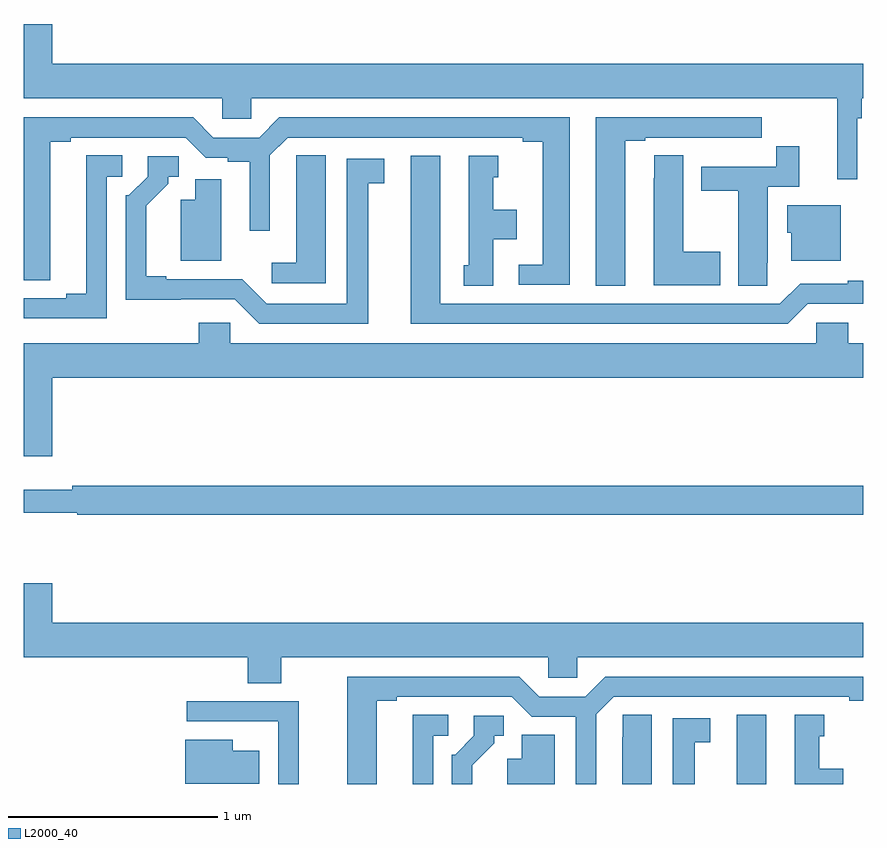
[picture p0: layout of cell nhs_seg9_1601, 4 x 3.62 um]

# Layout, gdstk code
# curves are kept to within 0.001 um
import gdstk
lib = gdstk.Library(unit=1e-6, precision=1e-09)
def R(c, l, rs):  # rectangles x0, y0, x1, y1
    for r in rs: c.add(gdstk.rectangle(r[:2], r[2:], *l))
def P(c, l, *ps):  # polygons
    for p in ps: c.add(gdstk.Polygon(p, *l))
L2000_40 = (2000, 40)

nhs_seg9_1601 = lib.new_cell('nhs_seg9_1601')
R(nhs_seg9_1601, L2000_40, [(204.398,1178.5,204.538,1178.83)])
P(nhs_seg9_1601, L2000_40, [(201.136,1182.121),(201,1182.121),(201,1181.768),(201.945,1181.768),(201.945,1181.67),(202.083,1181.67),(202.083,1181.768),(204.875,1181.768),(204.875,1181.382),(204.972,1181.382),(204.972,1181.672),(204.992,1181.672),(204.992,1181.768),(205,1181.768),(205,1181.932),(201.136,1181.932)],
  [(203.866,1181.565),(203.962,1181.565),(203.962,1181.58),(204.238,1181.58),(204.238,1181.579),(204.404,1181.579),(204.404,1181.58),(204.517,1181.58),(204.517,1181.676),(203.726,1181.676),(203.726,1180.873),(203.866,1180.873)],
  [(203.602,1181.676),(202.217,1181.676),(202.121,1181.58),(201.903,1181.58),(201.807,1181.676),(201,1181.676),(201,1180.9),(201.127,1180.9),(201.127,1181.56),(201.223,1181.56),(201.223,1181.58),(201.771,1181.58),(201.867,1181.484),(201.972,1181.484),(201.972,1181.464),(202.076,1181.464),(202.076,1181.136),(202.173,1181.136),(202.173,1181.496),(202.257,1181.58),(203.378,1181.58),(203.378,1181.56),(203.474,1181.56),(203.474,1180.974),(203.358,1180.974),(203.358,1180.878),(203.602,1180.878)],
  [(204.543,1180.984),(204.544,1180.984),(204.544,1181.346),(204.695,1181.346),(204.695,1181.539),(204.586,1181.539),(204.586,1181.442),(204.227,1181.442),(204.227,1181.326),(204.404,1181.326),(204.404,1180.873),(204.543,1180.873)],
  [(204.319,1181.037),(204.142,1181.037),(204.142,1181.495),(204.003,1181.495),(204.003,1181.387),(204.002,1181.387),(204.002,1180.877),(204.319,1180.877)],
  [(202.438,1181.495),(202.299,1181.495),(202.299,1181.387),(202.298,1181.387),(202.298,1180.984),(202.182,1180.984),(202.182,1180.887),(202.438,1180.887)],
  [(201.396,1181.394),(201.469,1181.394),(201.469,1181.495),(201.299,1181.495),(201.299,1180.835),(201.203,1180.835),(201.203,1180.815),(201,1180.815),(201,1180.719),(201.396,1180.719)],
  [(204.735,1180.788),(205,1180.788),(205,1180.897),(204.926,1180.897),(204.926,1180.884),(204.699,1180.884),(204.603,1180.788),(202.984,1180.788),(202.984,1181.494),(202.844,1181.494),(202.844,1180.692),(204.639,1180.692)],
  [(203.236,1181.096),(203.35,1181.096),(203.35,1181.236),(203.236,1181.236),(203.236,1181.391),(203.26,1181.391),(203.26,1181.494),(203.12,1181.494),(203.12,1180.971),(203.096,1180.971),(203.096,1180.873),(203.236,1180.873)],
  [(202.642,1181.362),(202.717,1181.362),(202.717,1181.478),(202.538,1181.478),(202.538,1180.788),(202.158,1180.788),(202.041,1180.905),(201.679,1180.905),(201.679,1180.918),(201.583,1180.918),(201.583,1181.254),(201.688,1181.359),(201.688,1181.394),(201.738,1181.394),(201.738,1181.49),(201.591,1181.49),(201.591,1181.394),(201.501,1181.304),(201.486,1181.304),(201.486,1180.808),(202.005,1180.809),(202.122,1180.692),(202.642,1180.692)],
  [(201.94,1181.382),(201.818,1181.382),(201.818,1181.284),(201.749,1181.284),(201.749,1180.994),(201.94,1180.994)],
  [(204.892,1181.257),(204.638,1181.257),(204.638,1181.127),(204.656,1181.127),(204.656,1180.994),(204.892,1180.994)],
  [(201,1180.062),(201.136,1180.062),(201.136,1180.436),(205,1180.436),(205,1180.6),(204.929,1180.6),(204.929,1180.698),(204.777,1180.698),(204.777,1180.6),(201.984,1180.6),(201.984,1180.698),(201.833,1180.698),(201.833,1180.6),(201,1180.6)],
  [(205,1179.92),(201.232,1179.92),(201.232,1179.901),(201,1179.901),(201,1179.792),(201.255,1179.792),(201.255,1179.784),(205,1179.784)],
  [(202.227,1179.104),(203.499,1179.104),(203.499,1179.006),(203.637,1179.006),(203.637,1179.104),(205,1179.104),(205,1179.268),(201.136,1179.268),(201.136,1179.457),(201,1179.457),(201,1179.104),(202.067,1179.104),(202.067,1178.98),(202.227,1178.98)],
  [(202.681,1178.896),(202.777,1178.896),(202.777,1178.916),(203.325,1178.916),(203.421,1178.82),(203.631,1178.82),(203.631,1178.5),(203.727,1178.5),(203.727,1178.832),(203.811,1178.916),(204.932,1178.916),(204.932,1178.896),(205,1178.896),(205,1179.012),(203.771,1179.012),(203.675,1178.916),(203.457,1178.916),(203.361,1179.012),(202.541,1179.012),(202.541,1178.5),(202.681,1178.5)],
  [(202.311,1178.895),(201.777,1178.895),(201.777,1178.799),(202.211,1178.799),(202.211,1178.798),(202.212,1178.798),(202.212,1178.5),(202.311,1178.5)],
  [(203.992,1178.831),(203.853,1178.831),(203.853,1178.723),(203.852,1178.723),(203.852,1178.5),(203.992,1178.5)],
  [(202.95,1178.73),(203.023,1178.73),(203.023,1178.831),(202.853,1178.831),(202.853,1178.5),(202.95,1178.5)],
  [(204.904,1178.572),(204.79,1178.572),(204.79,1178.727),(204.814,1178.727),(204.814,1178.83),(204.674,1178.83),(204.674,1178.5),(204.904,1178.5)],
  [(203.137,1178.59),(203.242,1178.695),(203.242,1178.73),(203.287,1178.73),(203.287,1178.826),(203.145,1178.826),(203.145,1178.73),(203.055,1178.64),(203.04,1178.64),(203.04,1178.5),(203.137,1178.5)],
  [(204.196,1178.698),(204.271,1178.698),(204.271,1178.814),(204.092,1178.814),(204.092,1178.5),(204.196,1178.5)],
  [(203.53,1178.735),(203.372,1178.735),(203.372,1178.62),(203.303,1178.62),(203.303,1178.5),(203.53,1178.5)],
  [(202.123,1178.659),(201.997,1178.659),(201.997,1178.71),(201.77,1178.71),(201.77,1178.501),(202.123,1178.501)])

lib.write_gds('nhs_seg9_1601.gds')
